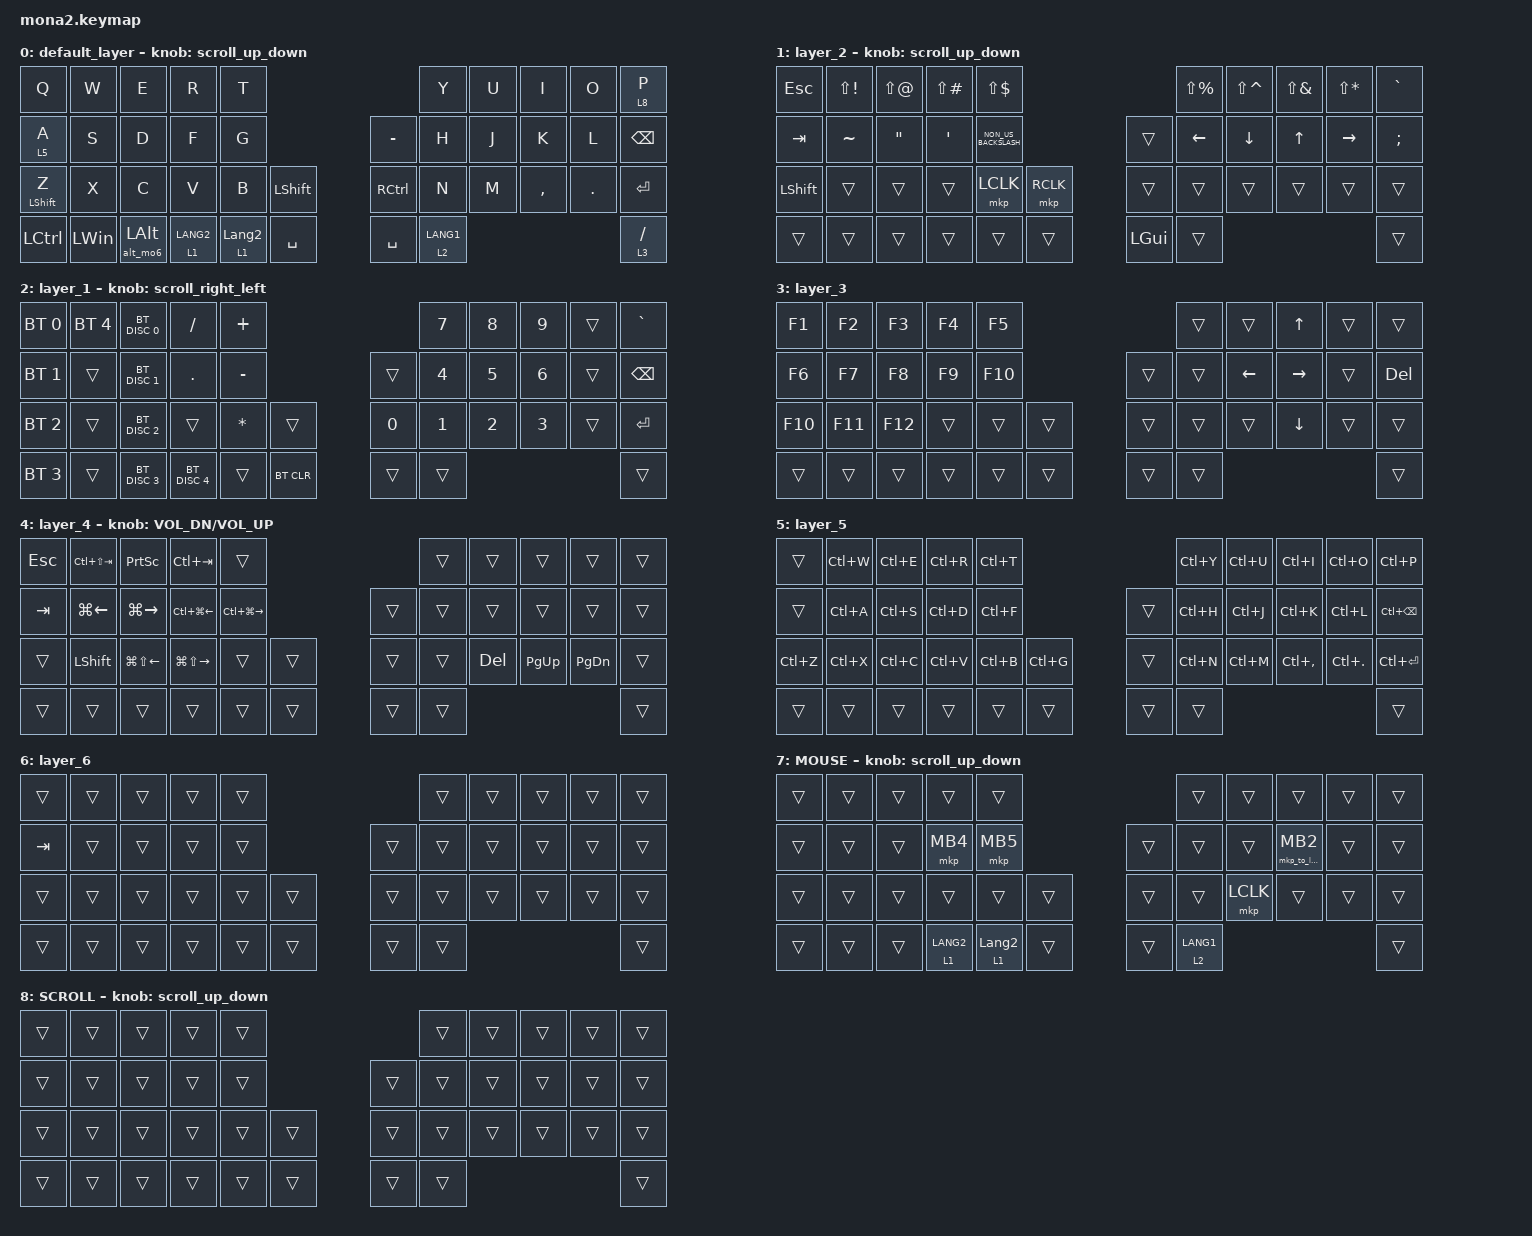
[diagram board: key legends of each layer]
#include <input/processors.dtsi>
#include <dt-bindings/zmk/input_transform.h>
#include <zephyr/dt-bindings/input/input-event-codes.h>
#include <behaviors.dtsi>
#include <dt-bindings/zmk/bt.h>
#include <dt-bindings/zmk/keys.h>
#include <dt-bindings/zmk/pointing.h>

#define ZMK_POINTING_DEFAULT_SCRL_VAL 100
#define MOUSE 7
#define SCROLL 8

&mt {
    flavor = "balanced";
    quick-tap-ms = <0>;
};

&lt {
    quick-tap-ms = <300>;
    flavor = "balanced";
};

/ {
    combos {
        compatible = "zmk,combos";

        LeftBlacket {
            bindings = <&kp LEFT_BRACKET>;
            key-positions = <17 18>;
        };

        tab {
            bindings = <&kp TAB>;
            key-positions = <11 12>;
        };

        RightBlacket {
            bindings = <&kp RIGHT_BRACKET>;
            key-positions = <29 30>;
        };

        LeftPar {
            bindings = <&kp LEFT_PARENTHESIS>;
            key-positions = <18 19>;
        };

        RightPar {
            bindings = <&kp RIGHT_PARENTHESIS>;
            key-positions = <30 31>;
        };

        Equal {
            bindings = <&kp EQUAL>;
            key-positions = <17 7>;
        };

        quote {
            bindings = <&kp SINGLE_QUOTE>;
            key-positions = <13 17>;
        };
    };

    macros {
        to_layer_0: to_layer_0 {
            compatible = "zmk,behavior-macro-one-param";
            #binding-cells = <1>;
            bindings = <&to 0 &macro_param_1to1 &kp MACRO_PLACEHOLDER>;
            label = "TO_LAYER_0";
        };

        mkp_to_layer_0: mkp_to_layer_0 {
            compatible = "zmk,behavior-macro-one-param";
            #binding-cells = <1>;
            bindings = <&macro_param_1to1 &mkp MACRO_PLACEHOLDER &to 0>;
            label = "MKP_TO_LAYER_0";
        };

        alt_mo6: alt_mo6 {
            compatible = "zmk,behavior-macro-one-param";
            #binding-cells = <1>;
            bindings =
                <&macro_press>,
                <&mo 6 &kp LALT>,
                <&macro_pause_for_release>,
                <&macro_release>,
                <&mo 6 &kp LALT>;

            label = "ALT_MO6";
        };
    };

    behaviors {
        lt_to_layer_0: lt_to_layer_0 {
            compatible = "zmk,behavior-hold-tap";
            label = "LAYER_TAP_TO_0";
            bindings = <&mo>, <&to_layer_0>;

            #binding-cells = <2>;
            tapping-term-ms = <200>;
        };

        alt_layer_ht: alt_layer_ht {
            compatible = "zmk,behavior-hold-tap";
            label = "ALT_LAYER_HT";
            bindings = <&alt_mo6>, <&kp>;

            #binding-cells = <2>;
            tapping-term-ms = <200>;
            flavor = "balanced";
        };

        scroll_up_down: mouse_wheel_up_down {
            compatible = "zmk,behavior-sensor-rotate";
            #sensor-binding-cells = <0>;
            bindings = <&msc SCRL_DOWN>, <&msc SCRL_UP>;

            tap-ms = <20>;
        };

        scroll_right_left: mouse_wheel_right_left {
            compatible = "zmk,behavior-sensor-rotate";
            #sensor-binding-cells = <0>;
            bindings = <&msc SCRL_LEFT>, <&msc SCRL_RIGHT>;

            tap-ms = <20>;
        };
    };

    keymap {
        compatible = "zmk,keymap";

        default_layer {
            bindings = <
&kp Q             &kp W         &kp E                     &kp R        &kp T                                          &kp Y        &kp U  &kp I      &kp O    &lt 8 P
&lt 5 A           &kp S         &kp D                     &kp F        &kp G                               &kp MINUS  &kp H        &kp J  &kp K      &kp L    &kp BACKSPACE
&mt LEFT_SHIFT Z  &kp X         &kp C                     &kp V        &kp B             &kp LEFT_SHIFT    &kp RCTRL  &kp N        &kp M  &kp COMMA  &kp DOT  &kp ENTER
&kp LCTRL         &kp LEFT_WIN  &alt_layer_ht 0 LEFT_ALT  &lt 1 LANG2  &lt 1 LANGUAGE_2  &kp SPACE         &kp SPACE  &lt 2 LANG1                             &lt 3 SLASH
            >;

            sensor-bindings = <&scroll_up_down>;
        };

        layer_2 {
            bindings = <
&kp ESC         &kp LS(EXCL)  &kp LS(AT)         &kp LS(POUND)  &kp LS(DLLR)                                     &kp LS(PRCNT)  &kp LS(CARET)  &kp LS(AMPS)  &kp LS(STAR)  &kp GRAVE
&kp TAB         &kp TILDE     &kp DOUBLE_QUOTES  &kp SQT        &kp NON_US_BACKSLASH               &trans        &kp LEFT       &kp DOWN       &kp UP_ARROW  &kp RIGHT     &kp SEMICOLON
&kp LEFT_SHIFT  &trans        &trans             &trans         &mkp LCLK             &mkp RCLK    &trans        &trans         &trans         &trans        &trans        &trans
&trans          &trans        &trans             &trans         &trans                &trans       &kp LEFT_GUI  &trans                                                    &trans
            >;

            sensor-bindings = <&scroll_up_down>;
        };

        layer_1 {
            bindings = <
&bt BT_SEL 0  &bt BT_SEL 4  &bt BT_DISC 0  &kp SLASH      &kp PLUS                            &kp N7        &kp N8        &kp N9        &trans  &kp GRAVE
&bt BT_SEL 1  &trans        &bt BT_DISC 1  &kp PERIOD     &kp MINUS                   &trans  &kp NUMBER_4  &kp N5        &kp NUMBER_6  &trans  &kp BACKSPACE
&bt BT_SEL 2  &trans        &bt BT_DISC 2  &trans         &kp ASTERISK  &trans        &kp N0  &kp NUMBER_1  &kp NUMBER_2  &kp NUMBER_3  &trans  &kp RETURN
&bt BT_SEL 3  &trans        &bt BT_DISC 3  &bt BT_DISC 4  &trans        &bt BT_CLR    &trans  &trans                                            &trans
            >;

            sensor-bindings = <&scroll_right_left>;
        };

        layer_3 {
            bindings = <
&kp F1   &kp F2   &kp F3   &kp F4  &kp F5                     &trans  &trans    &kp UP_ARROW  &trans  &trans
&kp F6   &kp F7   &kp F8   &kp F9  &kp F10            &trans  &trans  &kp LEFT  &kp RIGHT     &trans  &kp DELETE
&kp F10  &kp F11  &kp F12  &trans  &trans   &trans    &trans  &trans  &trans    &kp DOWN      &trans  &trans
&trans   &trans   &trans   &trans  &trans   &trans    &trans  &trans                                  &trans
            >;
        };

        layer_4 {
            bindings = <
&kp ESCAPE  &kp LC(LS(TAB))     &kp PRINTSCREEN         &kp LC(TAB)              &trans                                     &trans  &trans      &trans       &trans         &trans
&kp TAB     &kp LG(LEFT_ARROW)  &kp LG(RIGHT_ARROW)     &kp LC(LG(LEFT_ARROW))   &kp LC(LG(RIGHT_ARROW))            &trans  &trans  &trans      &trans       &trans         &trans
&trans      &kp LEFT_SHIFT      &kp LG(LS(LEFT_ARROW))  &kp LG(LS(RIGHT_ARROW))  &trans                   &trans    &trans  &trans  &kp DELETE  &kp PAGE_UP  &kp PAGE_DOWN  &trans
&trans      &trans              &trans                  &trans                   &trans                   &trans    &trans  &trans                                          &trans
            >;

            sensor-bindings = <&inc_dec_kp C_VOL_DN C_VOL_UP>;
        };

        layer_5 {
            bindings = <
&trans     &kp LC(W)  &kp LC(E)  &kp LC(R)  &kp LC(T)                       &kp LC(Y)  &kp LC(U)  &kp LC(I)      &kp LC(O)    &kp LC(P)
&trans     &kp LC(A)  &kp LC(S)  &kp LC(D)  &kp LC(F)               &trans  &kp LC(H)  &kp LC(J)  &kp LC(K)      &kp LC(L)    &kp LC(BACKSPACE)
&kp LC(Z)  &kp LC(X)  &kp LC(C)  &kp LC(V)  &kp LC(B)  &kp LC(G)    &trans  &kp LC(N)  &kp LC(M)  &kp LC(COMMA)  &kp LC(DOT)  &kp LC(ENTER)
&trans     &trans     &trans     &trans     &trans     &trans       &trans  &trans                                            &trans
            >;
        };

        layer_6 {
            bindings = <
&trans   &trans  &trans  &trans  &trans                    &trans  &trans  &trans  &trans  &trans
&kp TAB  &trans  &trans  &trans  &trans            &trans  &trans  &trans  &trans  &trans  &trans
&trans   &trans  &trans  &trans  &trans  &trans    &trans  &trans  &trans  &trans  &trans  &trans
&trans   &trans  &trans  &trans  &trans  &trans    &trans  &trans                          &trans
            >;
        };

        MOUSE {
            bindings = <
&trans  &trans  &trans  &trans                  &trans                                         &trans                  &trans     &trans               &trans  &trans
&trans  &trans  &trans  &mkp MB4                &mkp MB5                               &trans  &trans                  &trans     &mkp_to_layer_0 MB2  &trans  &trans
&trans  &trans  &trans  &trans                  &trans                       &trans    &trans  &trans                  &mkp LCLK  &trans               &trans  &trans
&trans  &trans  &trans  &lt_to_layer_0 1 LANG2  &lt_to_layer_0 1 LANGUAGE_2  &trans    &trans  &lt_to_layer_0 2 LANG1                                          &trans
            >;

            sensor-bindings = <&scroll_up_down>;
        };

        SCROLL {
            bindings = <
&trans  &trans  &trans  &trans  &trans                    &trans  &trans  &trans  &trans  &trans
&trans  &trans  &trans  &trans  &trans            &trans  &trans  &trans  &trans  &trans  &trans
&trans  &trans  &trans  &trans  &trans  &trans    &trans  &trans  &trans  &trans  &trans  &trans
&trans  &trans  &trans  &trans  &trans  &trans    &trans  &trans                          &trans
            >;

            sensor-bindings = <&scroll_up_down>;
        };
    };
};
